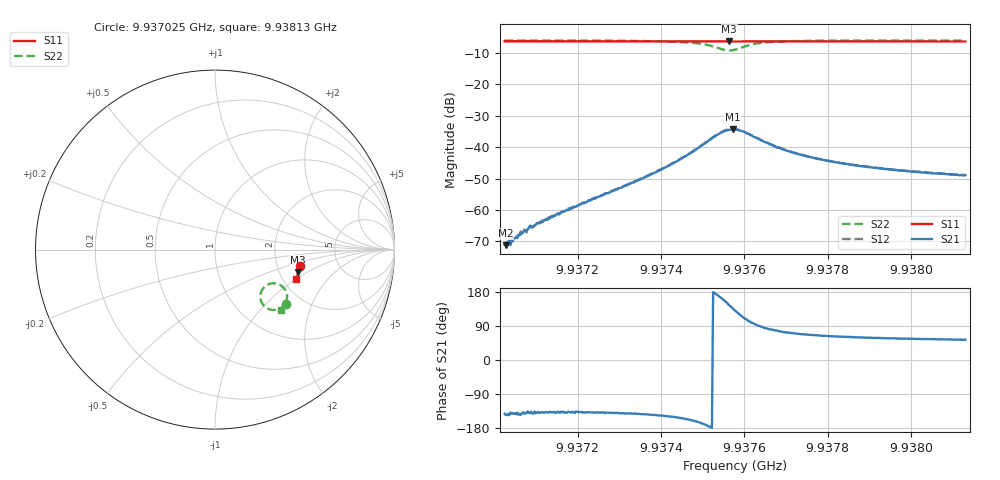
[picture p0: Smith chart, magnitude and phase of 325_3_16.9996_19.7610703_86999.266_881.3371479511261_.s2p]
#  HZ  S  RI  R  50.00
! Rohde & Schwarz Vector Network Analyzer
! Rohde-Schwarz,ZNB20-2Port,1311601062101988,3.16
! Created: UTC 3/20/2024, 11:06:41 PM
! freq[Hz]  re:S11  im:S11  re:S21  im:S21  re:S12  im:S12  re:S22  im:S22
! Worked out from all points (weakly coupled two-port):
!   401 points, 9.937025 GHz to 9.93813 GHz, reference 50 ohm
!   highest |S21| = -34.25 dB at 9.937572 GHz (marker M1); lowest = -71.3 dB at 9.937027 GHz (marker M2)
!   lowest |S11| = -6.4 dB at 9.937564 GHz (marker M3), VSWR 2.85, Z = 127 - j41.1 ohm
!   |S11| at or under -10 dB: nowhere
!   |S22| runs from -9.3 to -6.0 dB; largest |S21 - S12| = 0.00086
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9.9370245e9  0.4762 -0.0897  -0.000225 -0.000177  -0.000239 -0.000117  0.3974 -0.3011
9.9370273e9  0.4761 -0.0897  -0.000225 -0.000156  -0.000265 -0.000132  0.3973 -0.3013
9.9370439e9  0.4759 -0.091  -0.000257 -0.000215  -0.000259 -0.000174  0.3961 -0.3025
9.9370467e9  0.4758 -0.0912  -0.00028 -0.000218  -0.000278 -0.00025  0.3961 -0.3026
9.9370854e9  0.4752 -0.0939  -0.000432 -0.000362  -0.000399 -0.000338  0.3933 -0.3056
9.9371351e9  0.4742 -0.0971  -0.000566 -0.000508  -0.000588 -0.000525  0.3893 -0.3091
9.9372098e9  0.4728 -0.1022  -0.000921 -0.000865  -0.000986 -0.00082  0.3825 -0.315
9.9373369e9  0.4702 -0.1108  -0.00219 -0.00179  -0.00232 -0.00173  0.3653 -0.3269
9.937395e9  0.469 -0.1148  -0.00351 -0.00234  -0.00361 -0.00236  0.3513 -0.3329
9.9374531e9  0.4676 -0.1188  -0.00614 -0.00296  -0.00629 -0.00291  0.3269 -0.3366
9.9375028e9  0.4658 -0.1221  -0.011 -0.00209  -0.0112 -0.00189  0.2868 -0.3247
9.9375388e9  0.4644 -0.1239  -0.0159 0.0033  -0.0161 0.0037  0.2539 -0.2757
9.9375636e9  0.4636 -0.1246  -0.0155 0.0109  -0.0155 0.0115  0.2685 -0.216
9.9375719e9  0.4636 -0.1247  -0.014 0.0134  -0.0137 0.014  0.2855 -0.2005
9.9375775e9  0.4637 -0.1251  -0.0123 0.0146  -0.0121 0.0149  0.2985 -0.1934
9.9375996e9  0.4638 -0.126  -0.00621 0.0164  -0.0057 0.0166  0.35 -0.1913
9.9376383e9  0.4639 -0.1288  0.000308 0.0131  0.000535 0.0132  0.3932 -0.2285
9.9376963e9  0.4629 -0.133  0.00254 0.0087  0.00274 0.00872  0.4017 -0.2688
9.9377627e9  0.4614 -0.1376  0.00276 0.00624  0.00293 0.00626  0.3965 -0.2919
9.9378401e9  0.4597 -0.1429  0.00261 0.00476  0.00276 0.00477  0.3895 -0.3067
9.9379479e9  0.4569 -0.1499  0.00239 0.00373  0.00248 0.0037  0.3806 -0.3197
9.9381304e9  0.4522 -0.1617  0.00211 0.00289  0.00219 0.00284  0.368 -0.3345
